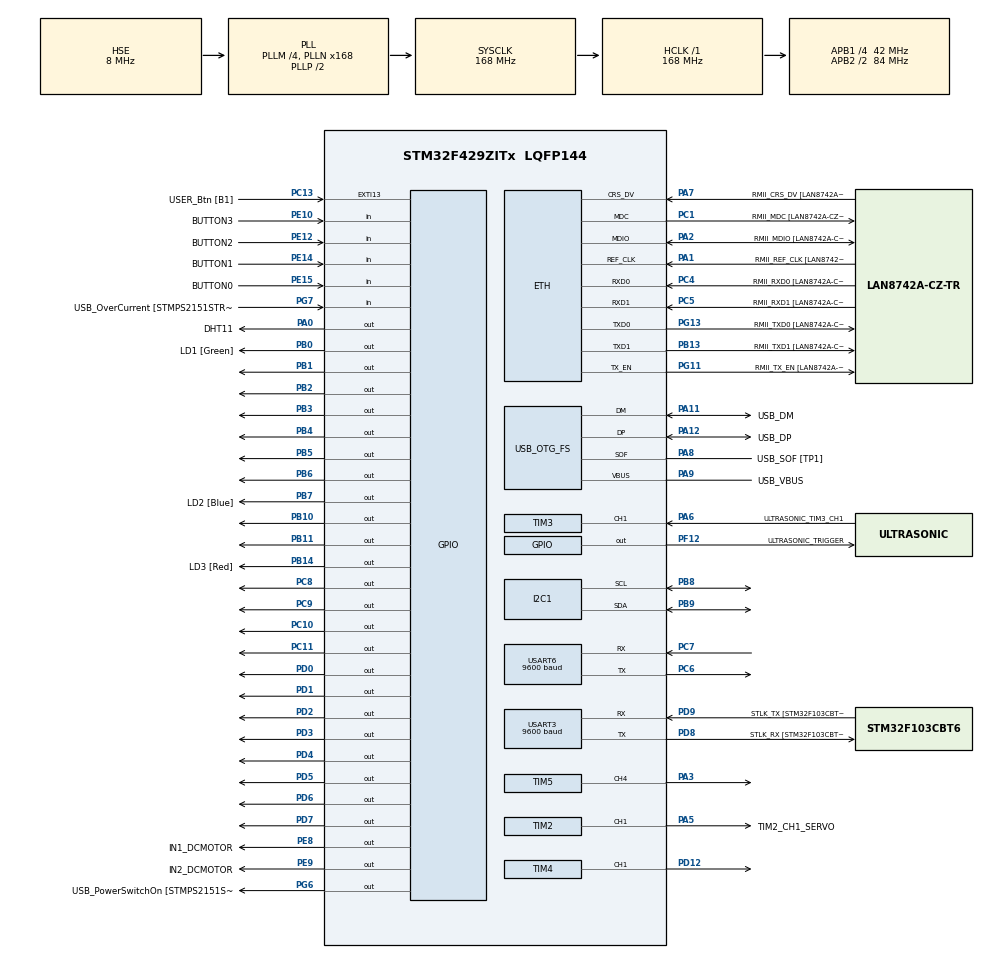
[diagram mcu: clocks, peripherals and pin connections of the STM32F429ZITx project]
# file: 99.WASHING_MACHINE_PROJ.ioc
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ETH.MediaInterface=HAL_ETH_RMII_MODE
ETH.PHY_Name=LAN8742A_PHY_ADDRESS
ETH.PHY_Value=0
ETH.PhyAddress=0
Mcu.Family=STM32F4
Mcu.Name=STM32F429ZITx
Mcu.Package=LQFP144
NVIC.PriorityGroup=NVIC_PRIORITYGROUP_4
NVIC.TIM1_TRG_COM_TIM11_IRQn=true\:0\:0\:false\:false\:true\:true\:true\:true
NVIC.TIM1_UP_TIM10_IRQn=true\:0\:0\:false\:false\:true\:true\:true\:true
NVIC.TIM2_IRQn=true\:0\:0\:false\:false\:true\:true\:true\:true
NVIC.TIM3_IRQn=true\:0\:0\:false\:false\:true\:true\:true\:true
NVIC.TIM4_IRQn=true\:0\:0\:false\:false\:true\:true\:true\:true
NVIC.TIM5_IRQn=true\:0\:0\:false\:false\:true\:true\:true\:true
NVIC.USART3_IRQn=true\:0\:0\:false\:false\:true\:true\:true\:true
NVIC.USART6_IRQn=true\:0\:0\:false\:false\:true\:true\:true\:true
PA0/WKUP.GPIO_Label=DHT11
PA0/WKUP.Signal=GPIO_Output
PA1.GPIO_Label=RMII_REF_CLK [LAN8742A-CZ-TR_REFCLK0]
PA1.Mode=RMII
PA1.Signal=ETH_REF_CLK
PA10.GPIO_Label=USB_ID
PA10.Signal=USB_OTG_FS_ID
PA11.GPIO_Label=USB_DM
PA11.Mode=Device_Only
PA11.Signal=USB_OTG_FS_DM
PA12.GPIO_Label=USB_DP
PA12.Mode=Device_Only
PA12.Signal=USB_OTG_FS_DP
PA13.GPIO_Label=TMS
PA13.Mode=Serial_Wire
PA13.Signal=SYS_JTMS-SWDIO
PA14.GPIO_Label=TCK
PA14.Mode=Serial_Wire
PA14.Signal=SYS_JTCK-SWCLK
PA2.GPIO_Label=RMII_MDIO [LAN8742A-CZ-TR_MDIO]
PA2.Mode=RMII
PA2.Signal=ETH_MDIO
PA3.Signal=S_TIM5_CH4
PA5.GPIO_Label=TIM2_CH1_SERVO
PA5.Signal=S_TIM2_CH1_ETR
PA6.GPIO_Label=ULTRASONIC_TIM3_CH1
PA6.Signal=S_TIM3_CH1
PA7.GPIO_Label=RMII_CRS_DV [LAN8742A-CZ-TR_CRS_DV]
PA7.Mode=RMII
PA7.Signal=ETH_CRS_DV
PA8.GPIO_Label=USB_SOF [TP1]
PA8.Mode=Activate_SOF_FS
PA8.Signal=USB_OTG_FS_SOF
PA9.GPIO_Label=USB_VBUS
PA9.Mode=Activate_VBUS
PA9.Signal=USB_OTG_FS_VBUS
PB0.GPIO_Label=LD1 [Green]
PB0.Signal=GPIO_Output
PB1.Signal=GPIO_Output
PB10.Signal=GPIO_Output
PB11.Signal=GPIO_Output
PB13.GPIO_Label=RMII_TXD1 [LAN8742A-CZ-TR_TXD1]
PB13.Mode=RMII
PB13.Signal=ETH_TXD1
PB14.GPIO_Label=LD3 [Red]
PB14.Signal=GPIO_Output
PB2/BOOT1.Signal=GPIO_Output
PB3.Signal=GPIO_Output
PB4.Signal=GPIO_Output
PB5.Signal=GPIO_Output
PB6.Signal=GPIO_Output
PB7.GPIO_Label=LD2 [Blue]
PB7.Signal=GPIO_Output
PB8.Mode=I2C
PB8.Signal=I2C1_SCL
PB9.Mode=I2C
PB9.Signal=I2C1_SDA
PC1.GPIO_Label=RMII_MDC [LAN8742A-CZ-TR_MDC]
PC1.Mode=RMII
PC1.Signal=ETH_MDC
PC10.Signal=GPIO_Output
PC11.Signal=GPIO_Output
PC13.GPIO_Label=USER_Btn [B1]
PC13.Signal=GPXTI13
PC14/OSC32_IN.Mode=LSE-External-Oscillator
PC14/OSC32_IN.Signal=RCC_OSC32_IN
PC15/OSC32_OUT.Mode=LSE-External-Oscillator
PC15/OSC32_OUT.Signal=RCC_OSC32_OUT
PC4.GPIO_Label=RMII_RXD0 [LAN8742A-CZ-TR_RXD0]
PC4.Mode=RMII
PC4.Signal=ETH_RXD0
PC5.GPIO_Label=RMII_RXD1 [LAN8742A-CZ-TR_RXD1]
PC5.Mode=RMII
PC5.Signal=ETH_RXD1
PC6.Mode=Asynchronous
PC6.Signal=USART6_TX
PC7.Mode=Asynchronous
PC7.Signal=USART6_RX
PC8.Signal=GPIO_Output
PC9.Signal=GPIO_Output
PD0.Signal=GPIO_Output
PD1.Signal=GPIO_Output
PD12.Signal=S_TIM4_CH1
PD2.Signal=GPIO_Output
PD3.Signal=GPIO_Output
PD4.Signal=GPIO_Output
PD5.Signal=GPIO_Output
PD6.Signal=GPIO_Output
PD7.Signal=GPIO_Output
PD8.GPIO_Label=STLK_RX [STM32F103CBT6_PA3]
PD8.Mode=Asynchronous
PD8.Signal=USART3_TX
PD9.GPIO_Label=STLK_TX [STM32F103CBT6_PA2]
PD9.Mode=Asynchronous
PD9.Signal=USART3_RX
PE10.GPIO_Label=BUTTON3
PE10.Signal=GPIO_Input
PE12.GPIO_Label=BUTTON2
PE12.Signal=GPIO_Input
PE14.GPIO_Label=BUTTON1
PE14.Signal=GPIO_Input
PE15.GPIO_Label=BUTTON0
PE15.Signal=GPIO_Input
PE8.GPIO_Label=IN1_DCMOTOR
PE8.Signal=GPIO_Output
PE9.GPIO_Label=IN2_DCMOTOR
PE9.Signal=GPIO_Output
PF12.GPIO_Label=ULTRASONIC_TRIGGER
PF12.Signal=GPIO_Output
PG11.GPIO_Label=RMII_TX_EN [LAN8742A-CZ-TR_TXEN]
PG11.Mode=RMII
PG11.Signal=ETH_TX_EN
PG13.GPIO_Label=RMII_TXD0 [LAN8742A-CZ-TR_TXD0]
PG13.Mode=RMII
PG13.Signal=ETH_TXD0
PG6.GPIO_Label=USB_PowerSwitchOn [STMPS2151STR_EN]
PG6.Signal=GPIO_Output
PG7.GPIO_Label=USB_OverCurrent [STMPS2151STR_FAULT]
PG7.Signal=GPIO_Input
PH0/OSC_IN.GPIO_Label=MCO [STM32F103CBT6_PA8]
PH0/OSC_IN.Mode=HSE-External-Clock-Source
PH0/OSC_IN.Signal=RCC_OSC_IN
PH1/OSC_OUT.Mode=HSE-External-Clock-Source
PH1/OSC_OUT.Signal=RCC_OSC_OUT
ProjectManager.HeapSize=0x200
ProjectManager.StackSize=0x400
ProjectManager.TargetToolchain=STM32CubeIDE
RCC.48MHZClocksFreq_Value=48000000
RCC.AHBFreq_Value=168000000
RCC.APB1CLKDivider=RCC_HCLK_DIV4
RCC.APB1Freq_Value=42000000
RCC.APB1TimFreq_Value=84000000
RCC.APB2CLKDivider=RCC_HCLK_DIV2
RCC.APB2Freq_Value=84000000
RCC.APB2TimCLKDivider=2
RCC.APB2TimFreq_Value=168000000
RCC.CortexFreq_Value=168000000
RCC.HCLKFreq_Value=168000000
RCC.HSE_VALUE=8000000
RCC.HSI_VALUE=16000000
RCC.PLLM=4
RCC.PLLMUL=RCC_PLL_MUL9
RCC.PLLN=168
RCC.PLLQ=7
RCC.PRESCALERUSB=RCC_USBCLKSOURCE_PLL_DIV1_5
RCC.SYSCLKFreq_VALUE=168000000
RCC.SYSCLKSource=RCC_SYSCLKSOURCE_PLLCLK
RCC.SYSCLKSourceVirtual=RCC_SYSCLKSOURCE_PLLCLK
RCC.USBFreq_Value=48000000
RCC.VCOOutputFreq_Value=336000000
RTC.Date=16
RTC.Hours=9
RTC.Minutes=38
RTC.Month=RTC_MONTH_OCTOBER
RTC.Year=23
SH.S_TIM2_CH1_ETR.0=TIM2_CH1,PWM Generation1 CH1
SH.S_TIM3_CH1.0=TIM3_CH1,Input_Capture1_from_TI1
SH.S_TIM4_CH1.0=TIM4_CH1,PWM Generation1 CH1
SH.S_TIM5_CH4.0=TIM5_CH4,PWM Generation4 CH4
TIM10.Period=10000-1
TIM10.Prescaler=168-1
TIM11.Prescaler=168-1
TIM2.Channel-PWM\ Generation1\ CH1=TIM_CHANNEL_1
TIM2.Period=1000-1
TIM2.Prescaler=1680-1
TIM2.Pulse-PWM\ Generation1\ CH1=500-1
TIM3.Channel-Input_Capture1_from_TI1=TIM_CHANNEL_1
TIM3.ICPolarity_CH1=TIM_INPUTCHANNELPOLARITY_BOTHEDGE
TIM3.Prescaler=84-1
TIM4.Channel-PWM\ Generation1\ CH1=TIM_CHANNEL_1
TIM4.OCFastMode_PWM-PWM\ Generation1\ CH1=TIM_OCFAST_ENABLE
TIM4.Period=100-1
TIM4.Prescaler=840-1
TIM4.Pulse-PWM\ Generation1\ CH1=70-1
TIM5.Channel-Output\ Compare4\ CH4=TIM_CHANNEL_4
TIM5.Channel-PWM\ Generation4\ CH4=TIM_CHANNEL_4
TIM5.Period=400-1
TIM5.Prescaler=52.5-1
TIM5.Pulse-PWM\ Generation4\ CH4=200-1
USART3.BaudRate=9600
USART3.VirtualMode=VM_ASYNC
USART6.BaudRate=9600
USART6.VirtualMode=VM_ASYNC
USB_OTG_FS.VirtualMode=Device_Only
VP_RTC_VS_RTC_Activate.Mode=RTC_Enabled
VP_RTC_VS_RTC_Calendar.Mode=RTC_Calendar
VP_TIM10_VS_ClockSourceINT.Mode=Enable_Timer
VP_TIM11_VS_ClockSourceINT.Mode=Enable_Timer
VP_TIM4_VS_ClockSourceINT.Mode=Internal
VP_TIM5_VS_ClockSourceINT.Mode=Internal
VP_TIM5_VS_OPM.Mode=OPM_bit
board=NUCLEO-F429ZI

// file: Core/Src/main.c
/* USER CODE BEGIN Header */
/**
  ******************************************************************************
  * @file           : main.c
  * @brief          : Main program body
  ******************************************************************************
  * @attention
  *
  * Copyright (c) 2023 STMicroelectronics.
  * All rights reserved.
  *
  * This software is licensed under terms that can be found in the LICENSE file
  * in the root directory of this software component.
  * If no LICENSE file comes with this software, it is provided AS-IS.
  *
  ******************************************************************************
  */
/* USER CODE END Header */
#include "main.h"
#include "string.h"

ETH_TxPacketConfig TxConfig;
ETH_DMADescTypeDef  DMARxDscrTab[ETH_RX_DESC_CNT]; /* Ethernet Rx DMA Descriptors */
ETH_DMADescTypeDef  DMATxDscrTab[ETH_TX_DESC_CNT]; /* Ethernet Tx DMA Descriptors */

ETH_HandleTypeDef heth;

I2C_HandleTypeDef hi2c1;

RTC_HandleTypeDef hrtc;

TIM_HandleTypeDef htim2;
TIM_HandleTypeDef htim3;
TIM_HandleTypeDef htim4;
TIM_HandleTypeDef htim5;
TIM_HandleTypeDef htim10;
TIM_HandleTypeDef htim11;

UART_HandleTypeDef huart3;
UART_HandleTypeDef huart6;

PCD_HandleTypeDef hpcd_USB_OTG_FS;

/* USER CODE BEGIN PV */
uint8_t rx_data;	// uart3 rx data
uint8_t bt_rx_data;	// uart6 bt rx data
volatile int TIM10_10ms_counter=0;
volatile int TIM10_10ms_ultrasonic=0;
/* USER CODE END PV */

void SystemClock_Config(void);
static void MX_GPIO_Init(void);
static void MX_ETH_Init(void);
static void MX_USART3_UART_Init(void);
static void MX_USB_OTG_FS_PCD_Init(void);
static void MX_USART6_UART_Init(void);
static void MX_TIM10_Init(void);
static void MX_TIM11_Init(void);
static void MX_TIM3_Init(void);
static void MX_I2C1_Init(void);
static void MX_TIM4_Init(void);
static void MX_TIM2_Init(void);
static void MX_RTC_Init(void);
static void MX_TIM5_Init(void);
/* USER CODE BEGIN PFP */
extern void led_main(void);
extern void pc_command_processing(void);
extern void bt_command_processing(void);
extern void DHT11_main(void);
extern void DHT11_Init(void);
extern void DHT11_processing(void);
extern void ultrasonic_processing(void);
extern void i2c_lcd_main(void);
extern void i2c_lcd_init(void);
extern void lcd_string(uint8_t *str);
extern void move_cursor(uint8_t row, uint8_t column);
extern void dcmotor_pwm_control(void);
extern void servo_motor_test_main(void);
extern void get_rtc(void);
extern void washing_machine_on_off(void);
extern void set_time_button_ui(void);
extern void buzzer_main(void);
extern void fnd4digit_main(void);
extern void fnd4digit_sec_clock(void);
extern void laundry_btn_event(void);	// button event
extern void washing_machine_run(void); 	// run washing machine
extern void timer_main_ui();

void delay_us(unsigned long us);

extern uint8_t on_off_flag; // on/off flag
extern int toggle_DHT;
extern int toggle_sonic;

//extern uint8_t lcd_display_mode_flag;
extern uint8_t on_off_flag;

/* USER CODE END PFP */

/* USER CODE BEGIN 0 */
//-------------------
// call by SysTick_Handler of stm32f4xx_it.c
// ARM default timer
// enter here every 1ms
volatile int t1ms_counter = 0; 	// volatile : for disable optimize
volatile int fnd1ms_counter = 0;// FND 1ms
volatile int t1ms_wm_cnt = 0; 	// washing machine counter
void HAL_SYSTICK_Handler(void)
{
	t1ms_counter++;	// 1ms timer
	fnd1ms_counter++;
	t1ms_wm_cnt++;
}
//----------  printf start ----------
#ifdef __GNUC__
/* With GCC, small printf (option LD Linker->Libraries->Small printf
   set to 'Yes') calls __io_putchar() */
#define PUTCHAR_PROTOTYPE int __io_putchar(int ch)
#else
#define PUTCHAR_PROTOTYPE int fputc(int ch, FILE *f)
#endif /* __GNUC_ */
/**
  * @brief  Retargets the C library printf function to the USART.
  * @param  None
  * @retval None
  */
PUTCHAR_PROTOTYPE   // Add for printf
{
  /* Place your implementation of fputc here */
  /* e.g. write a character to the USART3 and Loop until the end of transmission */
  HAL_UART_Transmit(&huart3, (uint8_t *)&ch, 1, 0xFFFF);

  return ch;
}
//----------  printf end ----------

// move from Driver/STM32F4xx_HAL_Driver/stm32f4xx_hal_tim.c to here
// enter here when every timer INT occurs
void HAL_TIM_PeriodElapsedCallback(TIM_HandleTypeDef *htim)
{
	if(htim->Instance == TIM10)
	{
		TIM10_10ms_counter++; // 10ms timer counter
		TIM10_10ms_ultrasonic++; // ultrasonic trigger timer
	}
}

void delay_us(unsigned long us)
{
	__HAL_TIM_SET_COUNTER(&htim11, 0); // tim11 clear
	while(__HAL_TIM_GET_COUNTER(&htim11) < us);
}
/* USER CODE END 0 */

int main(void)
{

  /* MCU Configuration--------------------------------------------------------*/

  /* Reset of all peripherals, Initializes the Flash interface and the Systick. */
  HAL_Init();

  /* Configure the system clock */
  SystemClock_Config();

  /* Initialize all configured peripherals */
  MX_GPIO_Init();
  MX_ETH_Init();
  MX_USART3_UART_Init();
  MX_USB_OTG_FS_PCD_Init();
  MX_USART6_UART_Init();
  MX_TIM10_Init();
  MX_TIM11_Init();
  MX_TIM3_Init();
  MX_I2C1_Init();
  MX_TIM4_Init();
  MX_TIM2_Init();
  MX_RTC_Init();
  MX_TIM5_Init();
  /* USER CODE BEGIN 2 */
  HAL_UART_Receive_IT(&huart3, &rx_data, 1); // assing to RX INT
  HAL_UART_Receive_IT(&huart6, &bt_rx_data, 1); // for BT assing to RX INT
  HAL_TIM_Base_Start_IT(&htim10);	// ADD_JONGHYUN_231011
  HAL_TIM_Base_Start_IT(&htim11);	// ADD_JONGHYUN_231011
  HAL_TIM_IC_Start_IT(&htim3, TIM_CHANNEL_1); // for count pulse(rising edge, & falling edge)
  HAL_TIM_PWM_Start_IT(&htim4, TIM_CHANNEL_1); // for DV motor PWM control
  HAL_TIM_PWM_Start(&htim2, TIM_CHANNEL_1); /// for SERVO motor PWM control
  HAL_TIM_PWM_Start(&htim5, TIM_CHANNEL_4); /// PIEZO Buzzer

	DHT11_Init();
	i2c_lcd_init();

	TIM10_10ms_counter=0;

  /* USER CODE END 2 */

  /* Infinite loop */
  /* USER CODE BEGIN WHILE */

  while (1)
  {
	  washing_machine_on_off();	// button lcd button display control
	  if(on_off_flag) // ON?��?���? ?��?��
	  {
		  laundry_btn_event(); // button 0 1 2 3 event
		  washing_machine_run();
	  }
	  fnd4digit_sec_clock();

	  //set_time_button_ui();	// countdown button

    /* USER CODE END WHILE */

  }
}

void SystemClock_Config(void)
{
  RCC_OscInitTypeDef RCC_OscInitStruct = {0};
  RCC_ClkInitTypeDef RCC_ClkInitStruct = {0};

  /** Configure the main internal regulator output voltage
  */
  __HAL_RCC_PWR_CLK_ENABLE();
  __HAL_PWR_VOLTAGESCALING_CONFIG(PWR_REGULATOR_VOLTAGE_SCALE1);

  /** Initializes the RCC Oscillators according to the specified parameters
  * in the RCC_OscInitTypeDef structure.
  */
  RCC_OscInitStruct.OscillatorType = RCC_OSCILLATORTYPE_LSI|RCC_OSCILLATORTYPE_HSE;
  RCC_OscInitStruct.HSEState = RCC_HSE_BYPASS;
  RCC_OscInitStruct.LSIState = RCC_LSI_ON;
  RCC_OscInitStruct.PLL.PLLState = RCC_PLL_ON;
  RCC_OscInitStruct.PLL.PLLSource = RCC_PLLSOURCE_HSE;
  RCC_OscInitStruct.PLL.PLLM = 4;
  RCC_OscInitStruct.PLL.PLLN = 168;
  RCC_OscInitStruct.PLL.PLLP = RCC_PLLP_DIV2;
  RCC_OscInitStruct.PLL.PLLQ = 7;
  if (HAL_RCC_OscConfig(&RCC_OscInitStruct) != HAL_OK)
  {
    Error_Handler();
  }

  /** Initializes the CPU, AHB and APB buses clocks
  */
  RCC_ClkInitStruct.ClockType = RCC_CLOCKTYPE_HCLK|RCC_CLOCKTYPE_SYSCLK
                              |RCC_CLOCKTYPE_PCLK1|RCC_CLOCKTYPE_PCLK2;
  RCC_ClkInitStruct.SYSCLKSource = RCC_SYSCLKSOURCE_PLLCLK;
  RCC_ClkInitStruct.AHBCLKDivider = RCC_SYSCLK_DIV1;
  RCC_ClkInitStruct.APB1CLKDivider = RCC_HCLK_DIV4;
  RCC_ClkInitStruct.APB2CLKDivider = RCC_HCLK_DIV2;

  if (HAL_RCC_ClockConfig(&RCC_ClkInitStruct, FLASH_LATENCY_5) != HAL_OK)
  {
    Error_Handler();
  }
}

static void MX_ETH_Init(void)
{

   static uint8_t MACAddr[6];

  heth.Instance = ETH;
  MACAddr[0] = 0x00;
  MACAddr[1] = 0x80;
  MACAddr[2] = 0xE1;
  MACAddr[3] = 0x00;
  MACAddr[4] = 0x00;
  MACAddr[5] = 0x00;
  heth.Init.MACAddr = &MACAddr[0];
  heth.Init.MediaInterface = HAL_ETH_RMII_MODE;
  heth.Init.TxDesc = DMATxDscrTab;
  heth.Init.RxDesc = DMARxDscrTab;
  heth.Init.RxBuffLen = 1524;

  if (HAL_ETH_Init(&heth) != HAL_OK)
  {
    Error_Handler();
  }

  memset(&TxConfig, 0 , sizeof(ETH_TxPacketConfig));
  TxConfig.Attributes = ETH_TX_PACKETS_FEATURES_CSUM | ETH_TX_PACKETS_FEATURES_CRCPAD;
  TxConfig.ChecksumCtrl = ETH_CHECKSUM_IPHDR_PAYLOAD_INSERT_PHDR_CALC;
  TxConfig.CRCPadCtrl = ETH_CRC_PAD_INSERT;

}

static void MX_I2C1_Init(void)
{

  hi2c1.Instance = I2C1;
  hi2c1.Init.ClockSpeed = 100000;
  hi2c1.Init.DutyCycle = I2C_DUTYCYCLE_2;
  hi2c1.Init.OwnAddress1 = 0;
  hi2c1.Init.AddressingMode = I2C_ADDRESSINGMODE_7BIT;
  hi2c1.Init.DualAddressMode = I2C_DUALADDRESS_DISABLE;
  hi2c1.Init.OwnAddress2 = 0;
  hi2c1.Init.GeneralCallMode = I2C_GENERALCALL_DISABLE;
  hi2c1.Init.NoStretchMode = I2C_NOSTRETCH_DISABLE;
  if (HAL_I2C_Init(&hi2c1) != HAL_OK)
  {
    Error_Handler();
  }

  /** Configure Analogue filter
  */
  if (HAL_I2CEx_ConfigAnalogFilter(&hi2c1, I2C_ANALOGFILTER_ENABLE) != HAL_OK)
  {
    Error_Handler();
  }

  /** Configure Digital filter
  */
  if (HAL_I2CEx_ConfigDigitalFilter(&hi2c1, 0) != HAL_OK)
  {
    Error_Handler();
  }

}

static void MX_RTC_Init(void)
{

  RTC_TimeTypeDef sTime = {0};
  RTC_DateTypeDef sDate = {0};

  /** Initialize RTC Only
  */
  hrtc.Instance = RTC;
  hrtc.Init.HourFormat = RTC_HOURFORMAT_24;
  hrtc.Init.AsynchPrediv = 127;
  hrtc.Init.SynchPrediv = 255;
  hrtc.Init.OutPut = RTC_OUTPUT_DISABLE;
  hrtc.Init.OutPutPolarity = RTC_OUTPUT_POLARITY_HIGH;
  hrtc.Init.OutPutType = RTC_OUTPUT_TYPE_OPENDRAIN;
  if (HAL_RTC_Init(&hrtc) != HAL_OK)
  {
    Error_Handler();
  }

  /** Initialize RTC and set the Time and Date
  */
  sTime.Hours = 0x9;
  sTime.Minutes = 0x38;
  sTime.Seconds = 0x0;
  sTime.DayLightSaving = RTC_DAYLIGHTSAVING_NONE;
  sTime.StoreOperation = RTC_STOREOPERATION_RESET;
  if (HAL_RTC_SetTime(&hrtc, &sTime, RTC_FORMAT_BCD) != HAL_OK)
  {
    Error_Handler();
  }
  sDate.WeekDay = RTC_WEEKDAY_MONDAY;
  sDate.Month = RTC_MONTH_OCTOBER;
  sDate.Date = 0x16;
  sDate.Year = 0x23;

  if (HAL_RTC_SetDate(&hrtc, &sDate, RTC_FORMAT_BCD) != HAL_OK)
  {
    Error_Handler();
  }

}

static void MX_TIM2_Init(void)
{

  TIM_MasterConfigTypeDef sMasterConfig = {0};
  TIM_OC_InitTypeDef sConfigOC = {0};

  htim2.Instance = TIM2;
  htim2.Init.Prescaler = 1680-1;
  htim2.Init.CounterMode = TIM_COUNTERMODE_UP;
  htim2.Init.Period = 1000-1;
  htim2.Init.ClockDivision = TIM_CLOCKDIVISION_DIV1;
  htim2.Init.AutoReloadPreload = TIM_AUTORELOAD_PRELOAD_DISABLE;
  if (HAL_TIM_PWM_Init(&htim2) != HAL_OK)
  {
    Error_Handler();
  }
  sMasterConfig.MasterOutputTrigger = TIM_TRGO_RESET;
  sMasterConfig.MasterSlaveMode = TIM_MASTERSLAVEMODE_DISABLE;
  if (HAL_TIMEx_MasterConfigSynchronization(&htim2, &sMasterConfig) != HAL_OK)
  {
    Error_Handler();
  }
  sConfigOC.OCMode = TIM_OCMODE_PWM1;
  sConfigOC.Pulse = 500-1;
  sConfigOC.OCPolarity = TIM_OCPOLARITY_HIGH;
  sConfigOC.OCFastMode = TIM_OCFAST_DISABLE;
  if (HAL_TIM_PWM_ConfigChannel(&htim2, &sConfigOC, TIM_CHANNEL_1) != HAL_OK)
  {
    Error_Handler();
  }
  HAL_TIM_MspPostInit(&htim2);

}

static void MX_TIM3_Init(void)
{

  TIM_MasterConfigTypeDef sMasterConfig = {0};
  TIM_IC_InitTypeDef sConfigIC = {0};

  htim3.Instance = TIM3;
  htim3.Init.Prescaler = 84-1;
  htim3.Init.CounterMode = TIM_COUNTERMODE_UP;
  htim3.Init.Period = 65535;
  htim3.Init.ClockDivision = TIM_CLOCKDIVISION_DIV1;
  htim3.Init.AutoReloadPreload = TIM_AUTORELOAD_PRELOAD_DISABLE;
  if (HAL_TIM_IC_Init(&htim3) != HAL_OK)
  {
    Error_Handler();
  }
  sMasterConfig.MasterOutputTrigger = TIM_TRGO_RESET;
  sMasterConfig.MasterSlaveMode = TIM_MASTERSLAVEMODE_DISABLE;
  if (HAL_TIMEx_MasterConfigSynchronization(&htim3, &sMasterConfig) != HAL_OK)
  {
    Error_Handler();
  }
  sConfigIC.ICPolarity = TIM_INPUTCHANNELPOLARITY_BOTHEDGE;
  sConfigIC.ICSelection = TIM_ICSELECTION_DIRECTTI;
  sConfigIC.ICPrescaler = TIM_ICPSC_DIV1;
  sConfigIC.ICFilter = 0;
  if (HAL_TIM_IC_ConfigChannel(&htim3, &sConfigIC, TIM_CHANNEL_1) != HAL_OK)
  {
    Error_Handler();
  }

}

static void MX_TIM4_Init(void)
{

  TIM_ClockConfigTypeDef sClockSourceConfig = {0};
  TIM_MasterConfigTypeDef sMasterConfig = {0};
  TIM_OC_InitTypeDef sConfigOC = {0};

  htim4.Instance = TIM4;
  htim4.Init.Prescaler = 840-1;
  htim4.Init.CounterMode = TIM_COUNTERMODE_UP;
  htim4.Init.Period = 100-1;
  htim4.Init.ClockDivision = TIM_CLOCKDIVISION_DIV1;
  htim4.Init.AutoReloadPreload = TIM_AUTORELOAD_PRELOAD_DISABLE;
  if (HAL_TIM_Base_Init(&htim4) != HAL_OK)
  {
    Error_Handler();
  }
  sClockSourceConfig.ClockSource = TIM_CLOCKSOURCE_INTERNAL;
  if (HAL_TIM_ConfigClockSource(&htim4, &sClockSourceConfig) != HAL_OK)
  {
    Error_Handler();
  }
  if (HAL_TIM_PWM_Init(&htim4) != HAL_OK)
  {
    Error_Handler();
  }
  sMasterConfig.MasterOutputTrigger = TIM_TRGO_RESET;
  sMasterConfig.MasterSlaveMode = TIM_MASTERSLAVEMODE_DISABLE;
  if (HAL_TIMEx_MasterConfigSynchronization(&htim4, &sMasterConfig) != HAL_OK)
  {
    Error_Handler();
  }
  sConfigOC.OCMode = TIM_OCMODE_PWM1;
  sConfigOC.Pulse = 70-1;
  sConfigOC.OCPolarity = TIM_OCPOLARITY_HIGH;
  sConfigOC.OCFastMode = TIM_OCFAST_ENABLE;
  if (HAL_TIM_PWM_ConfigChannel(&htim4, &sConfigOC, TIM_CHANNEL_1) != HAL_OK)
  {
    Error_Handler();
  }
  HAL_TIM_MspPostInit(&htim4);

}

static void MX_TIM5_Init(void)
{

  TIM_ClockConfigTypeDef sClockSourceConfig = {0};
  TIM_MasterConfigTypeDef sMasterConfig = {0};
  TIM_OC_InitTypeDef sConfigOC = {0};

  htim5.Instance = TIM5;
  htim5.Init.Prescaler = 52.5-1;
  htim5.Init.CounterMode = TIM_COUNTERMODE_UP;
  htim5.Init.Period = 400-1;
  htim5.Init.ClockDivision = TIM_CLOCKDIVISION_DIV1;
  htim5.Init.AutoReloadPreload = TIM_AUTORELOAD_PRELOAD_DISABLE;
  if (HAL_TIM_Base_Init(&htim5) != HAL_OK)
  {
    Error_Handler();
  }
  sClockSourceConfig.ClockSource = TIM_CLOCKSOURCE_INTERNAL;
  if (HAL_TIM_ConfigClockSource(&htim5, &sClockSourceConfig) != HAL_OK)
  {
    Error_Handler();
  }
  if (HAL_TIM_PWM_Init(&htim5) != HAL_OK)
  {
    Error_Handler();
  }
  if (HAL_TIM_OnePulse_Init(&htim5, TIM_OPMODE_SINGLE) != HAL_OK)
  {
    Error_Handler();
  }
  sMasterConfig.MasterOutputTrigger = TIM_TRGO_RESET;
  sMasterConfig.MasterSlaveMode = TIM_MASTERSLAVEMODE_DISABLE;
  if (HAL_TIMEx_MasterConfigSynchronization(&htim5, &sMasterConfig) != HAL_OK)
  {
    Error_Handler();
  }
  sConfigOC.OCMode = TIM_OCMODE_PWM1;
  sConfigOC.Pulse = 200-1;
  sConfigOC.OCPolarity = TIM_OCPOLARITY_HIGH;
  sConfigOC.OCFastMode = TIM_OCFAST_DISABLE;
  if (HAL_TIM_PWM_ConfigChannel(&htim5, &sConfigOC, TIM_CHANNEL_4) != HAL_OK)
  {
    Error_Handler();
  }
  HAL_TIM_MspPostInit(&htim5);

}

static void MX_TIM10_Init(void)
{

  htim10.Instance = TIM10;
  htim10.Init.Prescaler = 168-1;
  htim10.Init.CounterMode = TIM_COUNTERMODE_UP;
  htim10.Init.Period = 10000-1;
  htim10.Init.ClockDivision = TIM_CLOCKDIVISION_DIV1;
  htim10.Init.AutoReloadPreload = TIM_AUTORELOAD_PRELOAD_DISABLE;
  if (HAL_TIM_Base_Init(&htim10) != HAL_OK)
  {
    Error_Handler();
  }

}

static void MX_TIM11_Init(void)
{

  htim11.Instance = TIM11;
  htim11.Init.Prescaler = 168-1;
  htim11.Init.CounterMode = TIM_COUNTERMODE_UP;
  htim11.Init.Period = 65535;
  htim11.Init.ClockDivision = TIM_CLOCKDIVISION_DIV1;
  htim11.Init.AutoReloadPreload = TIM_AUTORELOAD_PRELOAD_DISABLE;
  if (HAL_TIM_Base_Init(&htim11) != HAL_OK)
  {
    Error_Handler();
  }

}

static void MX_USART3_UART_Init(void)
{

  huart3.Instance = USART3;
  huart3.Init.BaudRate = 9600;
  huart3.Init.WordLength = UART_WORDLENGTH_8B;
  huart3.Init.StopBits = UART_STOPBITS_1;
  huart3.Init.Parity = UART_PARITY_NONE;
  huart3.Init.Mode = UART_MODE_TX_RX;
  huart3.Init.HwFlowCtl = UART_HWCONTROL_NONE;
  huart3.Init.OverSampling = UART_OVERSAMPLING_16;
  if (HAL_UART_Init(&huart3) != HAL_OK)
  {
    Error_Handler();
  }

}

static void MX_USART6_UART_Init(void)
{

  huart6.Instance = USART6;
  huart6.Init.BaudRate = 9600;
  huart6.Init.WordLength = UART_WORDLENGTH_8B;
  huart6.Init.StopBits = UART_STOPBITS_1;
  huart6.Init.Parity = UART_PARITY_NONE;
  huart6.Init.Mode = UART_MODE_TX_RX;
  huart6.Init.HwFlowCtl = UART_HWCONTROL_NONE;
  huart6.Init.OverSampling = UART_OVERSAMPLING_16;
  if (HAL_UART_Init(&huart6) != HAL_OK)
  {
    Error_Handler();
  }

}

static void MX_USB_OTG_FS_PCD_Init(void)
{

  hpcd_USB_OTG_FS.Instance = USB_OTG_FS;
  hpcd_USB_OTG_FS.Init.dev_endpoints = 4;
  hpcd_USB_OTG_FS.Init.speed = PCD_SPEED_FULL;
  hpcd_USB_OTG_FS.Init.dma_enable = DISABLE;
  hpcd_USB_OTG_FS.Init.phy_itface = PCD_PHY_EMBEDDED;
  hpcd_USB_OTG_FS.Init.Sof_enable = ENABLE;
  hpcd_USB_OTG_FS.Init.low_power_enable = DISABLE;
  hpcd_USB_OTG_FS.Init.lpm_enable = DISABLE;
  hpcd_USB_OTG_FS.Init.vbus_sensing_enable = ENABLE;
  hpcd_USB_OTG_FS.Init.use_dedicated_ep1 = DISABLE;
  if (HAL_PCD_Init(&hpcd_USB_OTG_FS) != HAL_OK)
  {
    Error_Handler();
  }

}

static void MX_GPIO_Init(void)
{
  GPIO_InitTypeDef GPIO_InitStruct = {0};

  /* GPIO Ports Clock Enable */
  __HAL_RCC_GPIOC_CLK_ENABLE();
  __HAL_RCC_GPIOH_CLK_ENABLE();
  __HAL_RCC_GPIOA_CLK_ENABLE();
  __HAL_RCC_GPIOB_CLK_ENABLE();
  __HAL_RCC_GPIOF_CLK_ENABLE();
  __HAL_RCC_GPIOE_CLK_ENABLE();
  __HAL_RCC_GPIOD_CLK_ENABLE();
  __HAL_RCC_GPIOG_CLK_ENABLE();

  /*Configure GPIO pin Output Level */
  HAL_GPIO_WritePin(DHT11_GPIO_Port, DHT11_Pin, GPIO_PIN_RESET);

  /*Configure GPIO pin Output Level */
  HAL_GPIO_WritePin(GPIOB, LD1_Pin|GPIO_PIN_1|GPIO_PIN_2|GPIO_PIN_10
                          |GPIO_PIN_11|LD3_Pin|GPIO_PIN_3|GPIO_PIN_4
                          |GPIO_PIN_5|GPIO_PIN_6|LD2_Pin, GPIO_PIN_RESET);

  /*Configure GPIO pin Output Level */
  HAL_GPIO_WritePin(ULTRASONIC_TRIGGER_GPIO_Port, ULTRASONIC_TRIGGER_Pin, GPIO_PIN_RESET);

  /*Configure GPIO pin Output Level */
  HAL_GPIO_WritePin(GPIOE, IN1_DCMOTOR_Pin|IN2_DCMOTOR_Pin, GPIO_PIN_RESET);

  /*Configure GPIO pin Output Level */
  HAL_GPIO_WritePin(USB_PowerSwitchOn_GPIO_Port, USB_PowerSwitchOn_Pin, GPIO_PIN_RESET);

  /*Configure GPIO pin Output Level */
  HAL_GPIO_WritePin(GPIOC, GPIO_PIN_8|GPIO_PIN_9|GPIO_PIN_10|GPIO_PIN_11, GPIO_PIN_RESET);

  /*Configure GPIO pin Output Level */
  HAL_GPIO_WritePin(GPIOD, GPIO_PIN_0|GPIO_PIN_1|GPIO_PIN_2|GPIO_PIN_3
                          |GPIO_PIN_4|GPIO_PIN_5|GPIO_PIN_6|GPIO_PIN_7, GPIO_PIN_RESET);

  /*Configure GPIO pin : USER_Btn_Pin */
  GPIO_InitStruct.Pin = USER_Btn_Pin;
  GPIO_InitStruct.Mode = GPIO_MODE_IT_RISING;
  GPIO_InitStruct.Pull = GPIO_NOPULL;
  HAL_GPIO_Init(USER_Btn_GPIO_Port, &GPIO_InitStruct);

  /*Configure GPIO pin : DHT11_Pin */
  GPIO_InitStruct.Pin = DHT11_Pin;
  GPIO_InitStruct.Mode = GPIO_MODE_OUTPUT_PP;
  GPIO_InitStruct.Pull = GPIO_NOPULL;
  GPIO_InitStruct.Speed = GPIO_SPEED_FREQ_LOW;
  HAL_GPIO_Init(DHT11_GPIO_Port, &GPIO_InitStruct);

  /*Configure GPIO pins : LD1_Pin PB1 PB2 PB10
                           PB11 LD3_Pin PB3 PB4
                           PB5 PB6 LD2_Pin */
  GPIO_InitStruct.Pin = LD1_Pin|GPIO_PIN_1|GPIO_PIN_2|GPIO_PIN_10
                          |GPIO_PIN_11|LD3_Pin|GPIO_PIN_3|GPIO_PIN_4
                          |GPIO_PIN_5|GPIO_PIN_6|LD2_Pin;
  GPIO_InitStruct.Mode = GPIO_MODE_OUTPUT_PP;
  GPIO_InitStruct.Pull = GPIO_NOPULL;
  GPIO_InitStruct.Speed = GPIO_SPEED_FREQ_LOW;
  HAL_GPIO_Init(GPIOB, &GPIO_InitStruct);

  /*Configure GPIO pin : ULTRASONIC_TRIGGER_Pin */
  GPIO_InitStruct.Pin = ULTRASONIC_TRIGGER_Pin;
  GPIO_InitStruct.Mode = GPIO_MODE_OUTPUT_PP;
  GPIO_InitStruct.Pull = GPIO_NOPULL;
  GPIO_InitStruct.Speed = GPIO_SPEED_FREQ_LOW;
  HAL_GPIO_Init(ULTRASONIC_TRIGGER_GPIO_Port, &GPIO_InitStruct);

  /*Configure GPIO pins : IN1_DCMOTOR_Pin IN2_DCMOTOR_Pin */
  GPIO_InitStruct.Pin = IN1_DCMOTOR_Pin|IN2_DCMOTOR_Pin;
  GPIO_InitStruct.Mode = GPIO_MODE_OUTPUT_PP;
  GPIO_InitStruct.Pull = GPIO_NOPULL;
  GPIO_InitStruct.Speed = GPIO_SPEED_FREQ_LOW;
  HAL_GPIO_Init(GPIOE, &GPIO_InitStruct);

  /*Configure GPIO pins : BUTTON3_Pin BUTTON2_Pin BUTTON1_Pin BUTTON0_Pin */
  GPIO_InitStruct.Pin = BUTTON3_Pin|BUTTON2_Pin|BUTTON1_Pin|BUTTON0_Pin;
  GPIO_InitStruct.Mode = GPIO_MODE_INPUT;
  GPIO_InitStruct.Pull = GPIO_NOPULL;
  HAL_GPIO_Init(GPIOE, &GPIO_InitStruct);

  /*Configure GPIO pin : USB_PowerSwitchOn_Pin */
  GPIO_InitStruct.Pin = USB_PowerSwitchOn_Pin;
  GPIO_InitStruct.Mode = GPIO_MODE_OUTPUT_PP;
  GPIO_InitStruct.Pull = GPIO_NOPULL;
  GPIO_InitStruct.Speed = GPIO_SPEED_FREQ_LOW;
  HAL_GPIO_Init(USB_PowerSwitchOn_GPIO_Port, &GPIO_InitStruct);

  /*Configure GPIO pin : USB_OverCurrent_Pin */
  GPIO_InitStruct.Pin = USB_OverCurrent_Pin;
  GPIO_InitStruct.Mode = GPIO_MODE_INPUT;
  GPIO_InitStruct.Pull = GPIO_NOPULL;
  HAL_GPIO_Init(USB_OverCurrent_GPIO_Port, &GPIO_InitStruct);

  /*Configure GPIO pins : PC8 PC9 PC10 PC11 */
  GPIO_InitStruct.Pin = GPIO_PIN_8|GPIO_PIN_9|GPIO_PIN_10|GPIO_PIN_11;
  GPIO_InitStruct.Mode = GPIO_MODE_OUTPUT_PP;
  GPIO_InitStruct.Pull = GPIO_NOPULL;
  GPIO_InitStruct.Speed = GPIO_SPEED_FREQ_LOW;
  HAL_GPIO_Init(GPIOC, &GPIO_InitStruct);

  /*Configure GPIO pins : PD0 PD1 PD2 PD3
                           PD4 PD5 PD6 PD7 */
  GPIO_InitStruct.Pin = GPIO_PIN_0|GPIO_PIN_1|GPIO_PIN_2|GPIO_PIN_3
                          |GPIO_PIN_4|GPIO_PIN_5|GPIO_PIN_6|GPIO_PIN_7;
  GPIO_InitStruct.Mode = GPIO_MODE_OUTPUT_PP;
  GPIO_InitStruct.Pull = GPIO_NOPULL;
  GPIO_InitStruct.Speed = GPIO_SPEED_FREQ_LOW;
  HAL_GPIO_Init(GPIOD, &GPIO_InitStruct);

}

void Error_Handler(void)
{
  __disable_irq();
  while (1)
  {
  }
}
